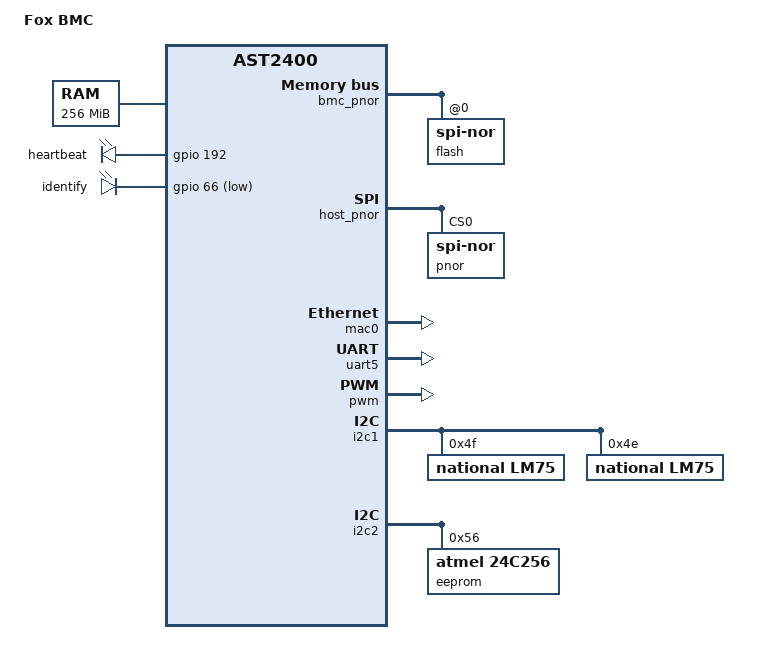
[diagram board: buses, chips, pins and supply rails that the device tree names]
/dts-v1/;

#include "aspeed-g4.dtsi"

#include <dt-bindings/gpio/gpio.h>

/ {
	model = "Fox BMC";
	compatible = "flex,fox-bmc", "aspeed,ast2400";

	aliases {
		serial4 = &uart5;
	};

	chosen {
		stdout-path = &uart5;
		bootargs = "console=ttyS4,38400 earlyprintk";
	};

	memory {
		reg = <0x40000000 0x10000000>;
	};

	ahb {
		bmc_pnor: fmc@1e620000 {
			reg = < 0x1e620000 0x94
				0x20000000 0x02000000 >;
			#address-cells = <1>;
			#size-cells = <0>;
			compatible = "aspeed,fmc";
			flash@0 {
				reg = < 0 >;
				compatible = "jedec,spi-nor" ;
#include "aspeed-bmc-opp-flash-layout.dtsi"
			};
		};

		host_pnor: spi@1e630000 {
			reg = < 0x1e630000 0x18
				0x30000000 0x02000000 >;
			#address-cells = <1>;
			#size-cells = <0>;
			compatible = "aspeed,smc";
			flash {
				reg = < 0 >;
				compatible = "jedec,spi-nor" ;
				label = "pnor";
			};
		};
	};

	leds {
		compatible = "gpio-leds";

		heartbeat {
			gpios = <&gpio 192 GPIO_ACTIVE_HIGH>;
		};

		identify {
			gpios = <&gpio 66 GPIO_ACTIVE_LOW>;
		};

	};

};

&mac0 {
	status = "okay";

	use-nc-si;
	no-hw-checksum;
};

&uart5 {
	status = "okay";
};

&pwm {
	status = "okay";
};

&i2c1 {
	status = "okay";

	lm75@4f {
		compatible = "national,lm75";
		reg = <0x4f>;
	};

	lm75@4e {
		compatible = "national,lm75";
		reg = <0x4e>;
	};

};

&i2c2 {
	status = "okay";

	eeprom@56 {
		compatible = "atmel,24c256";
		reg = <0x56>;
		pagesize = <64>;
	};
};
